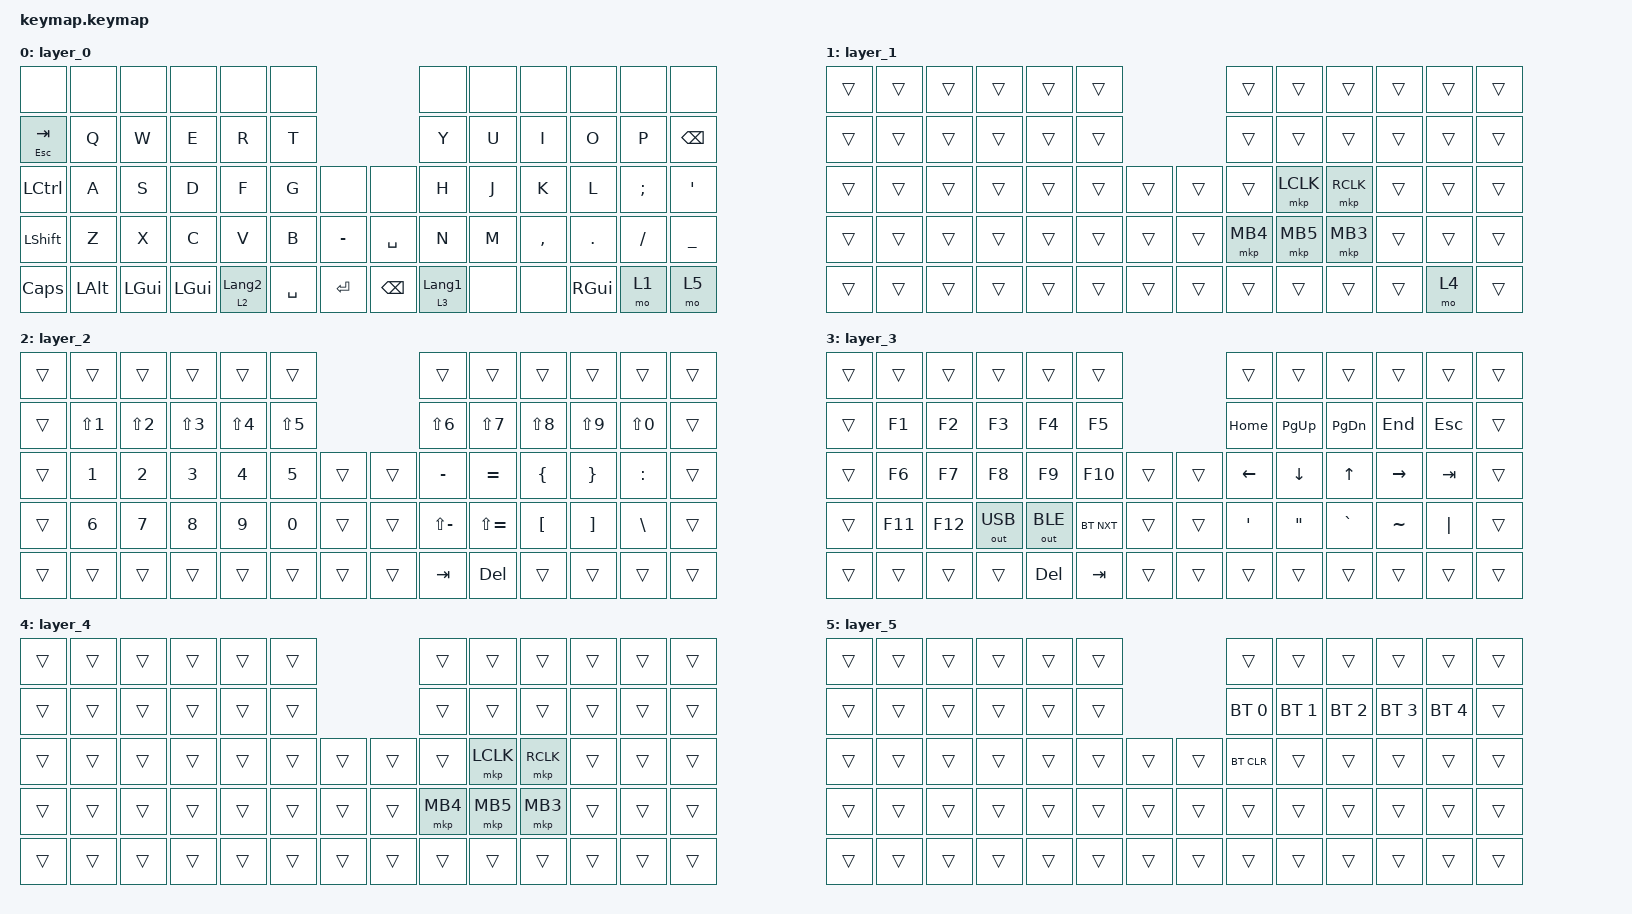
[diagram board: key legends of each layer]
#include <input/processors.dtsi>
#include <behaviors.dtsi>
#include <dt-bindings/zmk/bt.h>
#include <dt-bindings/zmk/keys.h>
#include <dt-bindings/zmk/outputs.h>
#include <dt-bindings/zmk/pointing.h>

/ {
    auto_mouse_layer: auto_mouse_layer {
        compatible = "zmk,input-processor-temp-layer";
        #input-processor-cells = <2>;

        // Mouse buttons and the scroll-layer key must not deactivate the temporary layer.

        excluded-positions = <33 34 46 47 48 64>;
    };

    combos {
        compatible = "zmk,combos";

        esc {
            bindings = <&kp ESCAPE>;
            key-positions = <12 13>;
        };
    };

    keymap {
        compatible = "zmk,keymap";

        layer_0 {
            bindings = <
&none           &none         &none         &none         &none             &none                                &none             &none  &none      &none          &none      &none
&mt ESCAPE TAB  &kp Q         &kp W         &kp E         &kp R             &kp T                                &kp Y             &kp U  &kp I      &kp O          &kp P      &kp BSPC
&kp LCTRL       &kp A         &kp S         &kp D         &kp F             &kp G      &none      &none          &kp H             &kp J  &kp K      &kp L          &kp SEMI   &kp SQT
&kp LSHFT       &kp Z         &kp X         &kp C         &kp V             &kp B      &kp MINUS  &kp SPACE      &kp N             &kp M  &kp COMMA  &kp DOT        &kp SLASH  &kp UNDERSCORE
&kp CAPSLOCK    &kp LEFT_ALT  &kp LEFT_GUI  &kp LEFT_GUI  &lt 2 LANGUAGE_2  &kp SPACE  &kp ENTER  &kp BACKSPACE  &lt 3 LANGUAGE_1  &none  &none      &kp RIGHT_GUI  &mo 1      &mo 5
            >;
        };

        layer_1 {
            bindings = <
&trans  &trans  &trans  &trans  &trans  &trans                  &trans    &trans     &trans     &trans  &trans  &trans
&trans  &trans  &trans  &trans  &trans  &trans                  &trans    &trans     &trans     &trans  &trans  &trans
&trans  &trans  &trans  &trans  &trans  &trans  &trans  &trans  &trans    &mkp LCLK  &mkp RCLK  &trans  &trans  &trans
&trans  &trans  &trans  &trans  &trans  &trans  &trans  &trans  &mkp MB4  &mkp MB5   &mkp MB3   &trans  &trans  &trans
&trans  &trans  &trans  &trans  &trans  &trans  &trans  &trans  &trans    &trans     &trans     &trans  &mo 4   &trans
            >;
        };

        layer_2 {
            bindings = <
&trans  &trans            &trans            &trans      &trans      &trans                      &trans         &trans         &trans            &trans             &trans         &trans
&trans  &kp LS(NUMBER_1)  &kp LS(NUMBER_2)  &kp LS(N3)  &kp LS(N4)  &kp LS(N5)                  &kp LS(N6)     &kp LS(N7)     &kp LS(N8)        &kp LS(N9)         &kp LS(N0)     &trans
&trans  &kp N1            &kp N2            &kp N3      &kp N4      &kp N5      &trans  &trans  &kp MINUS      &kp EQUAL      &kp LEFT_BRACE    &kp RIGHT_BRACE    &kp COLON      &trans
&trans  &kp N6            &kp N7            &kp N8      &kp N9      &kp N0      &trans  &trans  &kp LS(MINUS)  &kp LS(EQUAL)  &kp LEFT_BRACKET  &kp RIGHT_BRACKET  &kp BACKSLASH  &trans
&trans  &trans            &trans            &trans      &trans      &trans      &trans  &trans  &kp TAB        &kp DEL        &trans            &trans             &trans         &trans
            >;
        };

        layer_3 {
            bindings = <
&trans  &trans   &trans   &trans        &trans        &trans                      &trans            &trans     &trans         &trans     &trans      &trans
&trans  &kp F1   &kp F2   &kp F3        &kp F4        &kp F5                      &kp HOME          &kp PG_UP  &kp PAGE_DOWN  &kp END    &kp ESCAPE  &trans
&trans  &kp F6   &kp F7   &kp F8        &kp F9        &kp F10     &trans  &trans  &kp LEFT          &kp DOWN   &kp UP_ARROW   &kp RIGHT  &kp TAB     &trans
&trans  &kp F11  &kp F12  &out OUT_USB  &out OUT_BLE  &bt BT_NXT  &trans  &trans  &kp SINGLE_QUOTE  &kp DQT    &kp GRAVE      &kp TILDE  &kp PIPE    &trans
&trans  &trans   &trans   &trans        &kp DELETE    &kp TAB     &trans  &trans  &trans            &trans     &trans         &trans     &trans      &trans
            >;
        };

        // Hold a key mapped to &mo 4 to enable trackball scrolling.

        layer_4 {
            bindings = <
&trans  &trans  &trans  &trans  &trans  &trans                  &trans    &trans     &trans     &trans  &trans  &trans
&trans  &trans  &trans  &trans  &trans  &trans                  &trans    &trans     &trans     &trans  &trans  &trans
&trans  &trans  &trans  &trans  &trans  &trans  &trans  &trans  &trans    &mkp LCLK  &mkp RCLK  &trans  &trans  &trans
&trans  &trans  &trans  &trans  &trans  &trans  &trans  &trans  &mkp MB4  &mkp MB5   &mkp MB3   &trans  &trans  &trans
&trans  &trans  &trans  &trans  &trans  &trans  &trans  &trans  &trans    &trans     &trans     &trans  &trans  &trans
            >;
        };

        layer_5 {
            bindings = <
&trans  &trans  &trans  &trans  &trans  &trans                  &trans        &trans        &trans        &trans        &trans        &trans
&trans  &trans  &trans  &trans  &trans  &trans                  &bt BT_SEL 0  &bt BT_SEL 1  &bt BT_SEL 2  &bt BT_SEL 3  &bt BT_SEL 4  &trans
&trans  &trans  &trans  &trans  &trans  &trans  &trans  &trans  &bt BT_CLR    &trans        &trans        &trans        &trans        &trans
&trans  &trans  &trans  &trans  &trans  &trans  &trans  &trans  &trans        &trans        &trans        &trans        &trans        &trans
&trans  &trans  &trans  &trans  &trans  &trans  &trans  &trans  &trans        &trans        &trans        &trans        &trans        &trans
            >;
        };
    };
};
